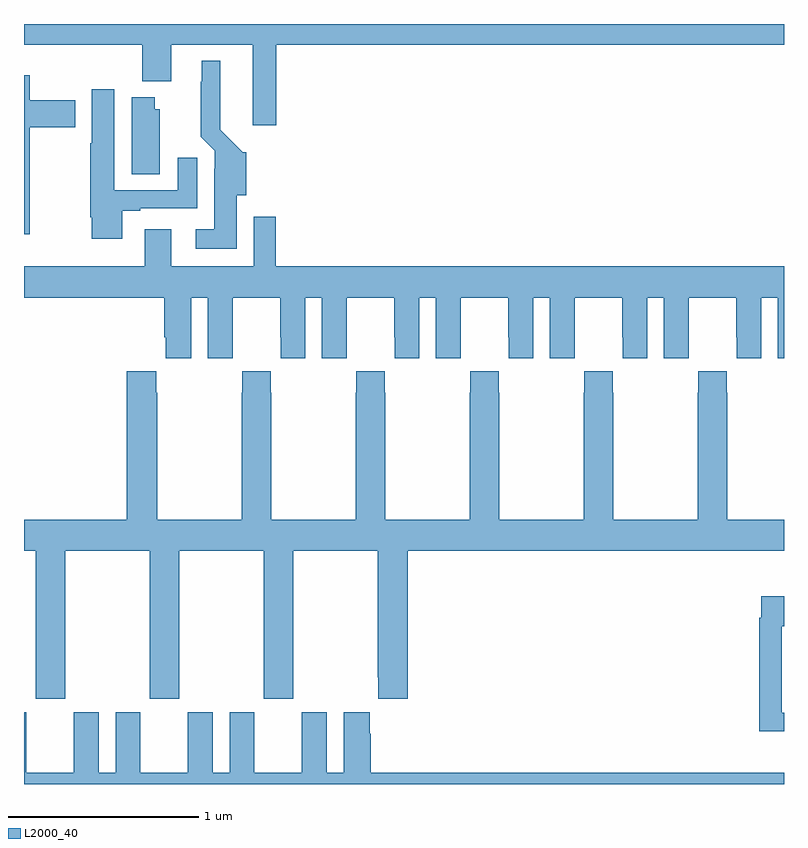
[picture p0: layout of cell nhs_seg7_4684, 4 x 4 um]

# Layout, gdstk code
import gdstk
lib = gdstk.Library(unit=1e-6, precision=1e-09)
def P(c, l, *ps):  # polygons
    for p in ps: c.add(gdstk.Polygon(p, *l))
L2000_40 = (2000, 40)

nhs_seg7_4684 = lib.new_cell('nhs_seg7_4684')
P(nhs_seg7_4684, L2000_40, [(406.328,1057.892),(409,1057.892),(409,1058),(405,1058),(405,1057.892),(405.623,1057.892),(405.623,1057.7),(405.775,1057.7),(405.775,1057.892),(406.205,1057.892),(406.205,1057.467),(406.328,1057.467)],
  [(406.12,1057.098),(406.171,1057.098),(406.171,1057.326),(406.151,1057.326),(406.033,1057.444),(406.033,1057.807),(405.935,1057.807),(405.935,1057.697),(405.931,1057.697),(405.931,1057.406),(406.005,1057.332),(406.005,1057.238),(406.001,1057.238),(406.001,1056.919),(405.903,1056.919),(405.903,1056.818),(406.12,1056.818)],
  [(405.03,1057.457),(405.271,1057.457),(405.271,1057.599),(405.03,1057.599),(405.03,1057.729),(405,1057.729),(405,1056.894),(405.03,1056.894)],
  [(405.517,1057.017),(405.613,1057.017),(405.613,1057.029),(405.913,1057.029),(405.913,1057.297),(405.809,1057.297),(405.809,1057.125),(405.475,1057.125),(405.475,1057.657),(405.356,1057.657),(405.356,1057.373),(405.349,1057.373),(405.349,1056.982),(405.356,1056.982),(405.356,1056.87),(405.517,1056.87)],
  [(405.715,1057.551),(405.688,1057.551),(405.688,1057.615),(405.566,1057.615),(405.566,1057.21),(405.715,1057.21)],
  [(406.325,1056.985),(406.209,1056.985),(406.209,1056.724),(405.775,1056.724),(405.775,1056.919),(405.635,1056.919),(405.635,1056.724),(405,1056.724),(405,1056.56),(405.737,1056.56),(405.737,1056.352),(405.746,1056.352),(405.746,1056.24),(405.88,1056.24),(405.88,1056.56),(405.968,1056.56),(405.968,1056.24),(406.098,1056.24),(406.098,1056.352),(406.099,1056.352),(406.099,1056.56),(406.349,1056.56),(406.349,1056.352),(406.35,1056.352),(406.35,1056.24),(406.48,1056.24),(406.48,1056.56),(406.568,1056.56),(406.568,1056.24),(406.698,1056.24),(406.698,1056.352),(406.699,1056.352),(406.699,1056.56),(406.949,1056.56),(406.949,1056.352),(406.95,1056.352),(406.95,1056.24),(407.08,1056.24),(407.08,1056.56),(407.168,1056.56),(407.168,1056.24),(407.298,1056.24),(407.298,1056.352),(407.299,1056.352),(407.299,1056.56),(407.549,1056.56),(407.549,1056.352),(407.55,1056.352),(407.55,1056.24),(407.68,1056.24),(407.68,1056.56),(407.768,1056.56),(407.768,1056.24),(407.898,1056.24),(407.898,1056.352),(407.899,1056.352),(407.899,1056.56),(408.149,1056.56),(408.149,1056.352),(408.15,1056.352),(408.15,1056.24),(408.28,1056.24),(408.28,1056.56),(408.368,1056.56),(408.368,1056.24),(408.498,1056.24),(408.498,1056.352),(408.499,1056.352),(408.499,1056.56),(408.749,1056.56),(408.749,1056.352),(408.75,1056.352),(408.75,1056.24),(408.88,1056.24),(408.88,1056.56),(408.968,1056.56),(408.968,1056.24),(409,1056.24),(409,1056.724),(406.325,1056.724)],
  [(405.216,1055.228),(405.661,1055.228),(405.661,1054.449),(405.816,1054.449),(405.816,1055.228),(406.261,1055.228),(406.261,1054.449),(406.416,1054.449),(406.416,1055.228),(406.861,1055.228),(406.861,1054.561),(406.865,1054.561),(406.865,1054.449),(407.021,1054.449),(407.021,1055.228),(409,1055.228),(409,1055.392),(408.702,1055.392),(408.702,1056.059),(408.699,1056.059),(408.699,1056.172),(408.549,1056.172),(408.549,1056.059),(408.547,1056.059),(408.547,1055.392),(408.102,1055.392),(408.102,1056.059),(408.099,1056.059),(408.099,1056.172),(407.949,1056.172),(407.949,1056.059),(407.947,1056.059),(407.947,1055.392),(407.502,1055.392),(407.502,1056.059),(407.499,1056.059),(407.499,1056.172),(407.349,1056.172),(407.349,1056.059),(407.347,1056.059),(407.347,1055.392),(406.902,1055.392),(406.902,1056.059),(406.899,1056.059),(406.899,1056.172),(406.749,1056.172),(406.749,1056.059),(406.747,1056.059),(406.747,1055.392),(406.302,1055.392),(406.302,1056.059),(406.299,1056.059),(406.299,1056.172),(406.149,1056.172),(406.149,1056.059),(406.147,1056.059),(406.147,1055.392),(405.702,1055.392),(405.702,1056.059),(405.695,1056.059),(405.695,1056.172),(405.542,1056.172),(405.542,1055.392),(405,1055.392),(405,1055.228),(405.061,1055.228),(405.061,1054.449),(405.216,1054.449)],
  [(409,1054.374),(408.987,1054.374),(408.987,1054.831),(409,1054.831),(409,1054.987),(408.879,1054.987),(408.879,1054.874),(408.871,1054.874),(408.871,1054.277),(409,1054.277)],
  [(409,1054.06),(406.826,1054.06),(406.826,1054.265),(406.819,1054.265),(406.819,1054.378),(406.682,1054.378),(406.682,1054.06),(406.594,1054.06),(406.594,1054.378),(406.463,1054.378),(406.463,1054.06),(406.213,1054.06),(406.213,1054.378),(406.082,1054.378),(406.082,1054.06),(405.994,1054.06),(405.994,1054.378),(405.863,1054.378),(405.863,1054.06),(405.613,1054.06),(405.613,1054.378),(405.482,1054.378),(405.482,1054.06),(405.394,1054.06),(405.394,1054.378),(405.263,1054.378),(405.263,1054.06),(405.013,1054.06),(405.013,1054.378),(405,1054.378),(405,1054),(409,1054)])

lib.write_gds('nhs_seg7_4684.gds')
